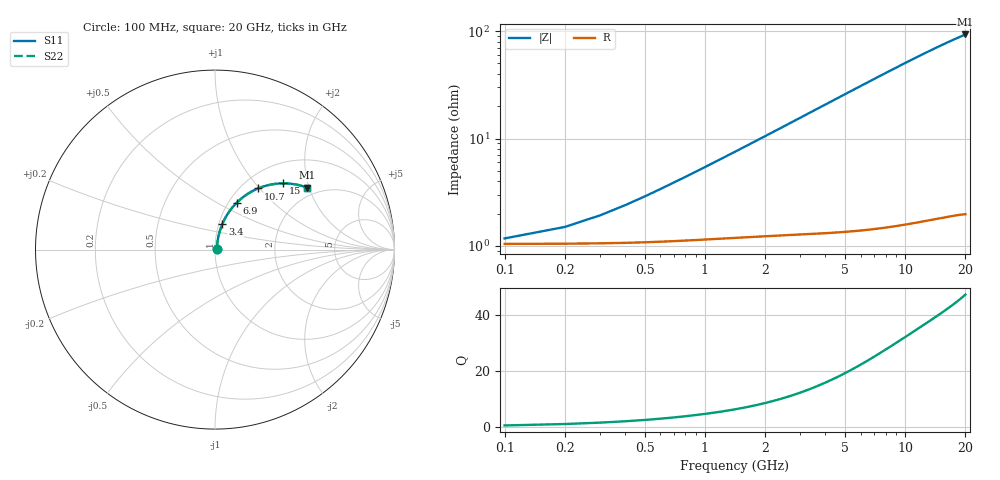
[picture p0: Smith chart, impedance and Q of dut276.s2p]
! Touchstone file exported from HFSS 2026.1.0
!  File:  C:/ffzhzh/LocalFiles/Ansys_Project_Files/temp_train_TMRDL_276_1782985253_6248.aedt
!  Generated:  05:42:05 PM Jul  2, 2026
!  Design:  TMRDL
!  Project:  temp_train_TMRDL_276_1782985253_6248
! Variables:
!  h_bsmrdl = 2um
!  h_ox = 20um
!  h_rdl = 5um
!  h_sub = 80um
!  h_tmrdl = 2.21um
!  h_tsv = 80um
!  h_via = 3um
!  l_bsmrdl = 300um
!  l_sub = 1121.09um
!  l_tmrdl = 721.09um
!  m_sub = 200um
!  pitch = 53.02um
!  r_tsv = 6um
!  s_tmrdl = 10um
!  w_bsmrdl = 18um
!  w_sub = 500um
!  w_tmrdl = 11.1um
!  x_tsv_center1 = 726.64um
!  x_tsv_center2 = 1044.64um
!  x_tsv_center3 = 1776.83um
!  x_tsv_center4 = 2094.83um
!  x_tsv_center5 = 2827.02um
!  x_tsv_center6 = 3145.02um
# GHz S MA R 50.000000
! Terminal data exported
! Port[1] = TM_RDL1_1_T1
! Port[2] = TM_RDL1_1_T2
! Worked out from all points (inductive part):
!   200 points, 100 MHz to 20 GHz, reference 50 ohm
!   read as one part in series: L = 843 pH near 700 MHz
!   highest Q = 47.1 at 20 GHz (marker M1), where L = 741 pH
!   S11 on the Smith chart (normalised r, x): 100 MHz: 1.02, +0.01; 3.4 GHz: 1.04, +0.31; 6.9 GHz: 1.09, +0.63; 10.7 GHz: 1.19, +0.98; 15 GHz: 1.38, +1.41; 20 GHz: 1.74, +1.95
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0.1  0.01133 23.9  0.9897 -0.3  0.9897 -0.3  0.01133 23.9
! Gamma 0 0 0 0
! Port Impedance 50 0 50 0
0.4  0.0213 58.9  0.9893 -1.4  0.9893 -1.4  0.0213 58.9
0.6  0.02965 66.5  0.9888 -2.1  0.9888 -2.1  0.02965 66.5
0.7  0.03393 68.8  0.9885 -2.4  0.9885 -2.4  0.03393 68.8
0.9  0.04256 71.7  0.988 -3.1  0.988 -3.1  0.04256 71.7
1.2  0.05556 74.0  0.987 -4.1  0.987 -4.1  0.05556 74.0
1.6  0.07287 75.2  0.9855 -5.4  0.9855 -5.4  0.07287 75.2
2.1  0.09444 75.6  0.9835 -7.0  0.9835 -7.0  0.09444 75.6
2.7  0.1202 75.1  0.9804 -9.0  0.9804 -9.0  0.1202 75.1
3.4  0.1499 73.9  0.9762 -11.3  0.9762 -11.3  0.1499 73.9
3.5  0.1541 73.7  0.9755 -11.6  0.9755 -11.6  0.1541 73.7
4.2  0.1833 72.1  0.9703 -13.9  0.9703 -13.9  0.1833 72.1
5  0.2159 70.1  0.9635 -16.4  0.9635 -16.4  0.2159 70.1
6.8  0.2857 65.3  0.9449 -22.0  0.9449 -22.0  0.2857 65.3
6.9  0.2894 65.0  0.9437 -22.3  0.9437 -22.3  0.2894 65.0
8.4  0.3431 60.9  0.9255 -26.7  0.9255 -26.7  0.3431 60.9
10.1  0.3987 56.4  0.9028 -31.5  0.9028 -31.5  0.3987 56.4
10.7  0.417 54.8  0.8945 -33.2  0.8945 -33.2  0.417 54.8
13.4  0.4909 48.1  0.8562 -40.2  0.8562 -40.2  0.4909 48.1
15  0.5284 44.3  0.8337 -44.0  0.8337 -44.0  0.5284 44.3
16.7  0.5636 40.5  0.8105 -47.9  0.8105 -47.9  0.5636 40.5
20  0.6197 33.8  0.7691 -54.8  0.7691 -54.8  0.6197 33.8
